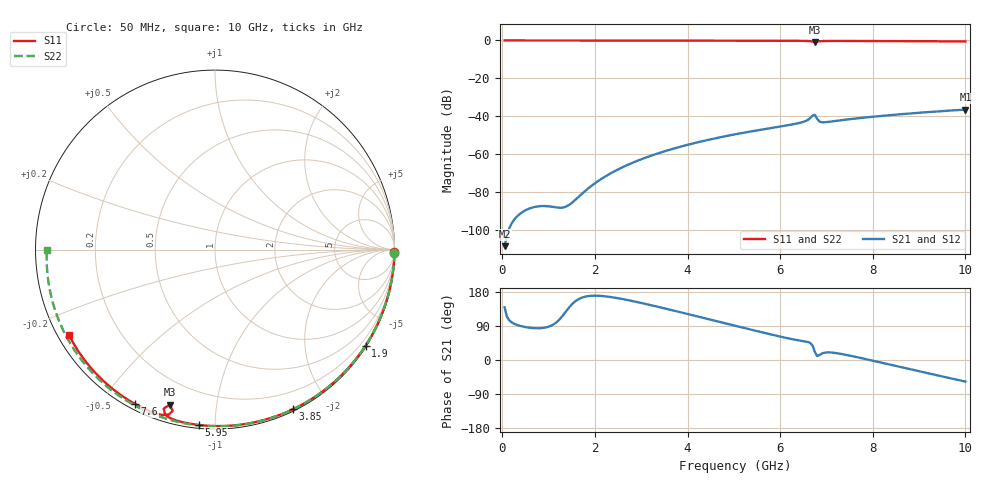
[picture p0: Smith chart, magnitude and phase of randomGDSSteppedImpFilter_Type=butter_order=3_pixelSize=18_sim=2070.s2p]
! freq	dB(S11)	phase(S11)	dB(S12)	phase(S12)
!  dB(S21)	phase(S21)	dB(S22)	phase(S22)
!S-par simulation data
#  GHz  S  DB  R 50
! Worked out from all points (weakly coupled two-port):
!   200 points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, 50 MHz to 10 GHz, reference 50 ohm
!   highest |S21| = -36.48 dB at 10 GHz (marker M1); lowest = -108.5 dB at 50 MHz (marker M2)
!   lowest |S11| = -0.9 dB at 6.75 GHz (marker M3), VSWR 18.98, Z = 4.11 - j37.3 ohm
!   |S11| at or under -10 dB: nowhere
!   |S22| runs from -0.6 to 0.0 dB; largest |S21 - S12| = 0
!   S11 on the Smith chart (normalised r, x): 50 MHz: open; 1.9 GHz: 0.03, -3.43; 3.85 GHz: 0.02, -1.60; 5.95 GHz: 0.02, -0.91; 7.6 GHz: 0.02, -0.61; 10 GHz: 0.03, -0.27
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0.05  -0.00 -0.9  -108.54 139.0  -108.54 139.0  -0.00 -1.1
0.85  -0.02 -14.7  -87.38 84.2  -87.38 84.2  -0.02 -18.0
1.75  -0.04 -30.0  -80.26 165.8  -80.26 165.8  -0.05 -36.6
1.9  -0.04 -32.5  -77.21 169.2  -77.21 169.2  -0.05 -39.7
2.2  -0.05 -37.5  -72.11 168.3  -72.11 168.3  -0.06 -45.7
2.55  -0.06 -43.2  -67.44 161.9  -67.44 161.9  -0.07 -52.6
2.95  -0.06 -49.7  -63.17 151.9  -63.17 151.9  -0.08 -60.4
3.4  -0.08 -56.9  -59.27 139.3  -59.27 139.3  -0.09 -69.0
3.85  -0.09 -64.0  -56.03 126.0  -56.03 126.0  -0.10 -77.3
5.05  -0.13 -82.1  -49.42 89.7  -49.42 89.7  -0.15 -98.7
5.95  -0.17 -95.3  -45.62 63.2  -45.62 63.2  -0.20 -113.9
6.5  -0.22 -103.8  -42.95 49.7  -42.95 49.7  -0.23 -123.0
6.6  -0.28 -105.7  -41.88 47.5  -41.88 47.5  -0.24 -124.6
6.7  -0.62 -107.9  -39.65 38.1  -39.65 38.1  -0.24 -126.2
6.75  -0.92 -106.3  -39.27 20.7  -39.27 20.7  -0.24 -127.0
6.8  -0.64 -104.7  -41.36 10.4  -41.36 10.4  -0.25 -127.9
6.85  -0.42 -105.5  -42.78 13.2  -42.78 13.2  -0.25 -128.7
6.9  -0.33 -106.6  -43.18 16.9  -43.18 16.9  -0.26 -129.5
7.6  -0.28 -117.4  -41.27 9.1  -41.27 9.1  -0.31 -140.7
8.35  -0.33 -127.6  -39.46 -11.5  -39.46 -11.5  -0.38 -152.8
9.2  -0.42 -138.9  -37.79 -35.2  -37.79 -35.2  -0.47 -166.6
10  -0.52 -149.7  -36.48 -56.9  -36.48 -56.9  -0.57 -179.9
